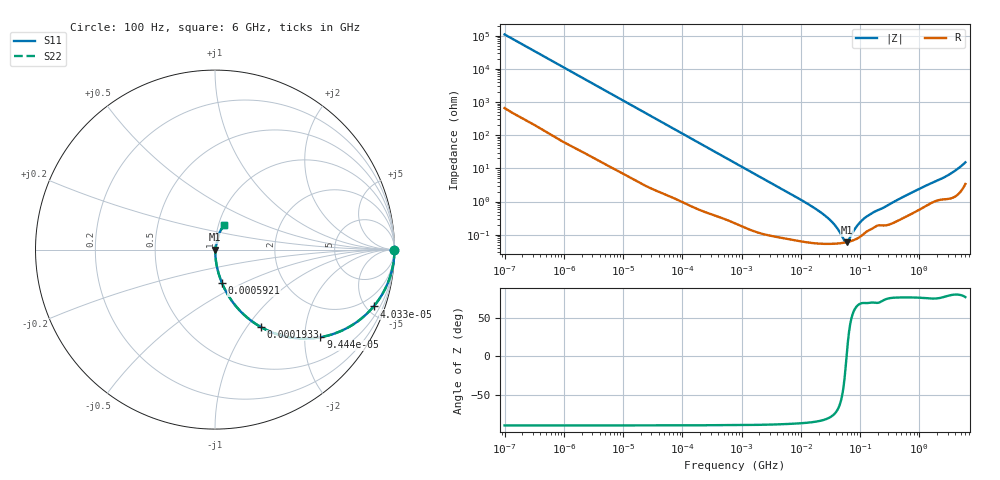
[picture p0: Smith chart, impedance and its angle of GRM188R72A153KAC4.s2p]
!Murata Part Number: GRM188R72A153KAC4
!These Parameters are Measured in Series Mode Connection
!Data Generated on Mar 30, 2021
!  o--ll--o
!Port1  Port2
!  o------o
!Operation Temp=25[degC], DC Bias Voltage=0[V]
!Freq. Start=100[Hz] Stop=6[GHz] 401[Steps]
# Hz S RI R 50
!Freq.(Hz) S11(Real) S11(Imag) S21(Real) S21(Imag) S12(Real) S12(Imag) S22(Real) S22(Imag)
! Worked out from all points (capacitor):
!   401 points, 100 Hz to 6 GHz, reference 50 ohm
!   read as one part in series: C = 14.5 nF near 109 Hz
!   lowest |Z| = 59.5 mohm at 59.6 MHz (marker M1)
!   series resonance near 59.19 MHz, so ESL is about 500 pH
!   S11 on the Smith chart (normalised r, x): 100 Hz: open; 40.34 kHz: 1.04, -5.57; 94.44 kHz: 1.02, -2.39; 193.3 kHz: 1.01, -1.17; 592.1 kHz: 1.01, -0.39; 6 GHz: 1.07, +0.30
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100  1 -0.00091  6.3e-06 0.00091  6.3e-06 0.00091  1 -0.00091
2008  0.9996 -0.0181  0.000432 0.0181  0.000432 0.0181  0.9996 -0.0181
11514  0.9889 -0.1018  0.0111 0.1018  0.0111 0.1018  0.9889 -0.1018
40335  0.884 -0.3167  0.116 0.3167  0.116 0.3167  0.884 -0.3167
60352  0.7747 -0.4139  0.2253 0.4139  0.2253 0.4139  0.7747 -0.4139
94437  0.587 -0.4882  0.413 0.4882  0.413 0.4882  0.587 -0.4882
193316  0.2572 -0.4323  0.7428 0.4323  0.7428 0.4323  0.2572 -0.4323
316350  0.1167 -0.3155  0.8833 0.3155  0.8833 0.3155  0.1167 -0.3155
592111  0.0381 -0.1847  0.9619 0.1847  0.9619 0.1847  0.0381 -0.1847
774597  0.0234 -0.1437  0.9766 0.1437  0.9766 0.1437  0.0234 -0.1437
2481164  0.00315 -0.0461  0.9969 0.0461  0.9969 0.0461  0.00315 -0.0461
1.555665e7  0.00061 -0.00701  0.9994 0.00701  0.9994 0.00701  0.00061 -0.00701
3.184506e7  0.000534 -0.00263  0.9995 0.00263  0.9995 0.00263  0.000534 -0.00263
4.165952e7  0.000543 -0.00143  0.9995 0.00143  0.9995 0.00143  0.000543 -0.00143
5.449875e7  0.000575 -0.000329  0.9994 0.000329  0.9994 0.000329  0.000575 -0.000329
5.960426e7  0.000594 2.87e-05  0.9994 -2.87e-05  0.9994 -2.87e-05  0.000594 2.87e-05
6.518806e7  0.000617 0.000387  0.9994 -0.000387  0.9994 -0.000387  0.000617 0.000387
8.918374e7  0.000766 0.00169  0.9992 -0.00169  0.9992 -0.00169  0.000766 0.00169
1.166697e8  0.00108 0.00288  0.9989 -0.00288  0.9989 -0.00288  0.00108 0.00288
3.124326e8  0.00209 0.00795  0.9979 -0.00795  0.9979 -0.00795  0.00209 0.00795
2.802721e9  0.0147 0.0544  0.9853 -0.0544  0.9853 -0.0544  0.0147 0.0544
6e9  0.0525 0.1363  0.9475 -0.1363  0.9475 -0.1363  0.0525 0.1363
